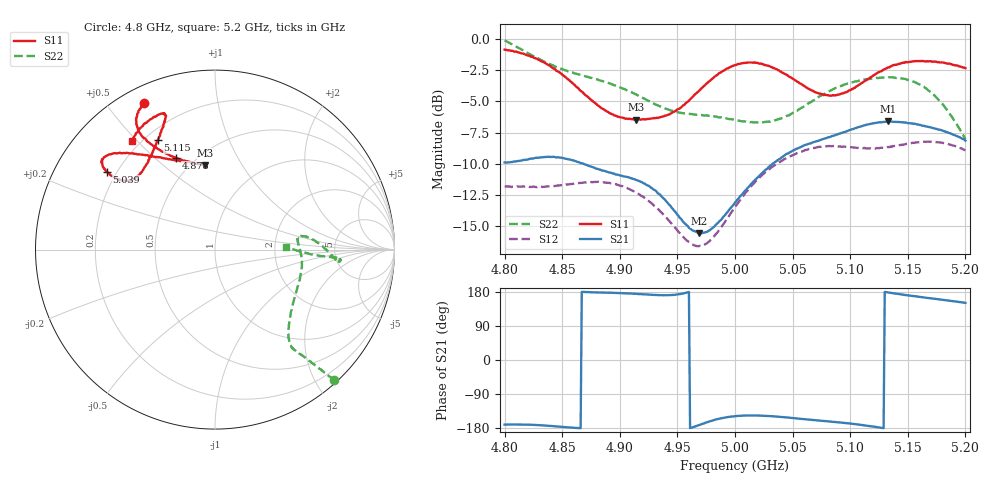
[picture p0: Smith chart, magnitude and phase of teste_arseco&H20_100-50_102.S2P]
! Network Analyzer HP8722D
! Hewlett-Packard
! Data name: Linha & Wilkinson
! Saver's name: Rodrigo Anjos
! Comments: Teste da utilização de aquisição
! continua pelo VNA HP8722D
! Time and date: 6/5/2025 13:25
!  Frequency  S11  S21  S12  S22
# HZ  S  MA R 50
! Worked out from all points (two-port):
!   401 points, 4.8 GHz to 5.2 GHz, reference 50 ohm
!   highest |S21| = -6.61 dB at 5.133 GHz (marker M1); lowest = -15.6 dB at 4.969 GHz (marker M2)
!   |S21| within 3 dB of the highest: 4.821 GHz to 4.854 GHz (33.32 MHz wide, 0.689 % of centre); 5.039 GHz to end of sweep
!   lowest |S11| = -6.5 dB at 4.914 GHz (marker M3), VSWR 2.81, Z = 29 + j35.3 ohm
!   |S11| at or under -10 dB: nowhere
!   |S22| runs from -8.0 to -0.1 dB; largest |S21 - S12| = 0.83
!   S11 on the Smith chart (normalised r, x): 4.8 GHz: 0.07, +0.62; 4.878 GHz: 0.40, +0.59; 5.039 GHz: 0.16, +0.32; 5.115 GHz: 0.25, +0.58; 5.2 GHz: 0.17, +0.48
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4.8e9  0.9059 115.9  0.3204 -170.5  0.2567 -86.2  0.9851 -47.5
4.822e9  0.8535 120.9  0.3309 -170.8  0.2555 -81.1  0.8677 -48.8
4.837e9  0.7906 122.7  0.3373 -173.6  0.257 -75.9  0.8007 -49.8
4.867e9  0.6154 117.9  0.318 179.8  0.2656 -67.4  0.7153 -51.5
4.878e9  0.5571 113.0  0.3052 178.4  0.2677 -66.1  0.6917 -51.9
4.899e9  0.4874 101.6  0.2855 176.7  0.2601 -66.7  0.6432 -50.3
4.914e9  0.475 96.6  0.273 174.9  0.2425 -68.1  0.6001 -46.8
4.934e9  0.4844 99.3  0.2399 171.0  0.2071 -69.5  0.5389 -37.5
4.95e9  0.5221 109.4  0.198 173.0  0.1713 -65.7  0.5094 -27.0
4.969e9  0.6212 123.4  0.1666 -171.5  0.1484 -47.8  0.4971 -15.1
4.981e9  0.6966 130.0  0.1761 -159.2  0.1612 -34.1  0.489 -8.8
5e9  0.7853 137.2  0.2214 -148.3  0.2124 -21.4  0.4733 -0.4
5.018e9  0.8016 141.7  0.2746 -146.6  0.2695 -18.3  0.4641 5.8
5.039e9  0.7418 144.1  0.3312 -150.0  0.3217 -18.3  0.4793 9.0
5.067e9  0.6219 141.9  0.3848 -158.0  0.3655 -20.6  0.5635 4.6
5.088e9  0.5951 133.0  0.4144 -163.9  0.3714 -23.7  0.637 -1.7
5.115e9  0.6887 117.6  0.4542 -173.5  0.3646 -26.7  0.6911 -5.4
5.133e9  0.7686 111.5  0.4672 178.1  0.3691 -28.6  0.7014 -4.8
5.134e9  0.7686 111.2  0.4659 177.8  0.3689 -28.8  0.7015 -4.8
5.162e9  0.815 112.9  0.4505 165.9  0.3873 -35.4  0.6505 -3.8
5.18e9  0.8038 118.8  0.4298 158.8  0.3843 -40.9  0.5501 -3.0
5.2e9  0.7632 127.4  0.3915 150.8  0.3587 -46.3  0.3967 2.4
